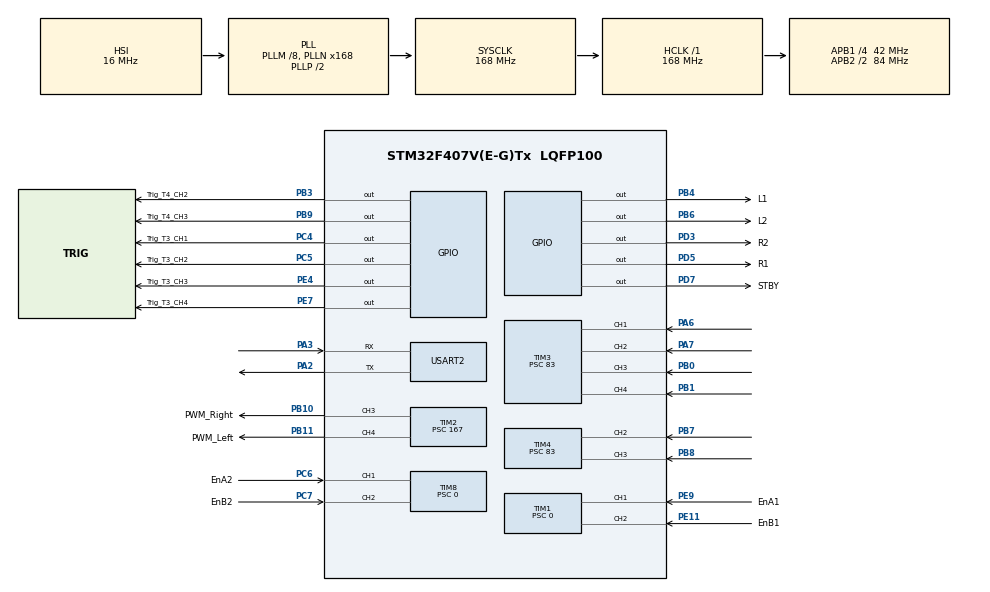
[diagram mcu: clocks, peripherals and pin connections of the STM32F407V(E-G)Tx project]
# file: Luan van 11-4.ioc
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Dma.Request0=USART2_RX
Dma.Request1=USART2_TX
Dma.USART2_RX.0.Direction=DMA_PERIPH_TO_MEMORY
Dma.USART2_RX.0.FIFOMode=DMA_FIFOMODE_DISABLE
Dma.USART2_RX.0.Instance=DMA1_Stream5
Dma.USART2_RX.0.MemDataAlignment=DMA_MDATAALIGN_BYTE
Dma.USART2_RX.0.MemInc=DMA_MINC_ENABLE
Dma.USART2_RX.0.Mode=DMA_CIRCULAR
Dma.USART2_RX.0.PeriphDataAlignment=DMA_PDATAALIGN_BYTE
Dma.USART2_RX.0.PeriphInc=DMA_PINC_DISABLE
Dma.USART2_RX.0.Priority=DMA_PRIORITY_LOW
Dma.USART2_TX.1.Direction=DMA_MEMORY_TO_PERIPH
Dma.USART2_TX.1.FIFOMode=DMA_FIFOMODE_DISABLE
Dma.USART2_TX.1.Instance=DMA1_Stream6
Dma.USART2_TX.1.MemDataAlignment=DMA_MDATAALIGN_BYTE
Dma.USART2_TX.1.MemInc=DMA_MINC_ENABLE
Dma.USART2_TX.1.Mode=DMA_CIRCULAR
Dma.USART2_TX.1.PeriphDataAlignment=DMA_PDATAALIGN_BYTE
Dma.USART2_TX.1.PeriphInc=DMA_PINC_DISABLE
Dma.USART2_TX.1.Priority=DMA_PRIORITY_LOW
Mcu.Family=STM32F4
Mcu.Name=STM32F407V(E-G)Tx
Mcu.Package=LQFP100
NVIC.DMA1_Stream5_IRQn=true\:0\:0\:false\:false\:true\:false\:true\:true
NVIC.DMA1_Stream6_IRQn=true\:0\:0\:false\:false\:true\:false\:true\:true
NVIC.PriorityGroup=NVIC_PRIORITYGROUP_4
NVIC.TIM1_CC_IRQn=true\:1\:0\:true\:false\:true\:true\:true\:true
NVIC.TIM3_IRQn=true\:0\:0\:false\:false\:true\:true\:true\:true
NVIC.TIM4_IRQn=true\:0\:0\:false\:false\:true\:true\:true\:true
NVIC.TIM8_BRK_TIM12_IRQn=true\:0\:0\:false\:false\:true\:true\:true\:true
NVIC.TIM8_CC_IRQn=true\:0\:0\:true\:false\:true\:true\:true\:true
NVIC.TIM8_TRG_COM_TIM14_IRQn=true\:0\:0\:false\:false\:true\:true\:true\:true
NVIC.TIM8_UP_TIM13_IRQn=true\:0\:0\:false\:false\:true\:true\:true\:true
NVIC.USART2_IRQn=true\:1\:0\:true\:false\:true\:true\:true\:true
PA13.Mode=Serial_Wire
PA13.Signal=SYS_JTMS-SWDIO
PA14.Mode=Serial_Wire
PA14.Signal=SYS_JTCK-SWCLK
PA2.Mode=Asynchronous
PA2.Signal=USART2_TX
PA3.Mode=Asynchronous
PA3.Signal=USART2_RX
PA6.Signal=S_TIM3_CH1
PA7.Signal=S_TIM3_CH2
PB0.Signal=S_TIM3_CH3
PB1.Signal=S_TIM3_CH4
PB10.GPIO_Label=PWM_Right
PB10.Signal=S_TIM2_CH3
PB11.GPIO_Label=PWM_Left
PB11.Signal=S_TIM2_CH4
PB3.GPIO_Label=Trig_T4_CH2
PB3.Signal=GPIO_Output
PB4.GPIO_Label=L1
PB4.Signal=GPIO_Output
PB6.GPIO_Label=L2
PB6.Signal=GPIO_Output
PB7.Signal=S_TIM4_CH2
PB8.Signal=S_TIM4_CH3
PB9.GPIO_Label=Trig_T4_CH3
PB9.Signal=GPIO_Output
PC14-OSC32_IN.Mode=LSE-External-Oscillator
PC14-OSC32_IN.Signal=RCC_OSC32_IN
PC15-OSC32_OUT.Mode=LSE-External-Oscillator
PC15-OSC32_OUT.Signal=RCC_OSC32_OUT
PC4.GPIO_Label=Trig_T3_CH1
PC4.Signal=GPIO_Output
PC5.GPIO_Label=Trig_T3_CH2
PC5.Signal=GPIO_Output
PC6.GPIO_Label=EnA2
PC6.Signal=S_TIM8_CH1
PC7.GPIO_Label=EnB2
PC7.Signal=S_TIM8_CH2
PD3.GPIO_Label=R2
PD3.Signal=GPIO_Output
PD5.GPIO_Label=R1
PD5.Signal=GPIO_Output
PD7.GPIO_Label=STBY
PD7.Signal=GPIO_Output
PE11.GPIO_Label=EnB1
PE11.Signal=S_TIM1_CH2
PE4.GPIO_Label=Trig_T3_CH3
PE4.Signal=GPIO_Output
PE7.GPIO_Label=Trig_T3_CH4
PE7.Signal=GPIO_Output
PE9.GPIO_Label=EnA1
PE9.Signal=S_TIM1_CH1
PH0-OSC_IN.Mode=HSE-External-Oscillator
PH0-OSC_IN.Signal=RCC_OSC_IN
PH1-OSC_OUT.Mode=HSE-External-Oscillator
PH1-OSC_OUT.Signal=RCC_OSC_OUT
ProjectManager.HeapSize=0x200
ProjectManager.StackSize=0x400
ProjectManager.TargetToolchain=MDK-ARM V5.32
RCC.48MHZClocksFreq_Value=84000000
RCC.AHBFreq_Value=168000000
RCC.APB1CLKDivider=RCC_HCLK_DIV4
RCC.APB1Freq_Value=42000000
RCC.APB1TimFreq_Value=84000000
RCC.APB2CLKDivider=RCC_HCLK_DIV2
RCC.APB2Freq_Value=84000000
RCC.APB2TimFreq_Value=168000000
RCC.CortexFreq_Value=168000000
RCC.HCLKFreq_Value=168000000
RCC.HSE_VALUE=25000000
RCC.HSI_VALUE=16000000
RCC.PLLM=8
RCC.PLLN=168
RCC.SYSCLKFreq_VALUE=168000000
RCC.SYSCLKSource=RCC_SYSCLKSOURCE_PLLCLK
RCC.VCOOutputFreq_Value=336000000
SH.S_TIM1_CH1.0=TIM1_CH1,Encoder_Interface
SH.S_TIM1_CH2.0=TIM1_CH2,Encoder_Interface
SH.S_TIM2_CH3.0=TIM2_CH3,PWM Generation3 CH3
SH.S_TIM2_CH4.0=TIM2_CH4,PWM Generation4 CH4
SH.S_TIM3_CH1.0=TIM3_CH1,Input_Capture1_from_TI1
SH.S_TIM3_CH2.0=TIM3_CH2,Input_Capture2_from_TI2
SH.S_TIM3_CH3.0=TIM3_CH3,Input_Capture3_from_TI3
SH.S_TIM3_CH4.0=TIM3_CH4,Input_Capture4_from_TI4
SH.S_TIM4_CH2.0=TIM4_CH2,Input_Capture2_from_TI2
SH.S_TIM4_CH3.0=TIM4_CH3,Input_Capture3_from_TI3
SH.S_TIM8_CH1.0=TIM8_CH1,Encoder_Interface
SH.S_TIM8_CH2.0=TIM8_CH2,Encoder_Interface
TIM1.EncoderMode=TIM_ENCODERMODE_TI12
TIM1.Prescaler=0
TIM2.Channel-PWM\ Generation3\ CH3=TIM_CHANNEL_3
TIM2.Channel-PWM\ Generation4\ CH4=TIM_CHANNEL_4
TIM2.Period=999
TIM2.Prescaler=167
TIM3.Channel-Input_Capture1_from_TI1=TIM_CHANNEL_1
TIM3.Channel-Input_Capture2_from_TI2=TIM_CHANNEL_2
TIM3.Channel-Input_Capture3_from_TI3=TIM_CHANNEL_3
TIM3.Channel-Input_Capture4_from_TI4=TIM_CHANNEL_4
TIM3.Prescaler=83
TIM4.Channel-Input_Capture2_from_TI2=TIM_CHANNEL_2
TIM4.Channel-Input_Capture3_from_TI3=TIM_CHANNEL_3
TIM4.Prescaler=83
TIM8.EncoderMode=TIM_ENCODERMODE_TI12
TIM8.Prescaler=0
USART2.VirtualMode=VM_ASYNC
board=custom

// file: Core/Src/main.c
/* USER CODE BEGIN Header */
/**
  ******************************************************************************
  * @file           : main.c
  * @brief          : Main program body
  ******************************************************************************
  * @attention
  *
  * Copyright (c) 2024 STMicroelectronics.
  * All rights reserved.
  *
  * This software is licensed under terms that can be found in the LICENSE file
  * in the root directory of this software component.
  * If no LICENSE file comes with this software, it is provided AS-IS.
  *
  ******************************************************************************
  */
/* USER CODE END Header */
#include "main.h"

/* USER CODE BEGIN PTD */

uint16_t ic_val1 = 0;
uint16_t ic_val2 = 0;
uint16_t diff = 0;
uint8_t distance =0;
uint8_t first_cap = 0; //check the first capture

float pre_pos1=0,pos1=0; //motor1
float pre_pos2=0,pos2=0; //motor2
float w1=0,w2=0; //van toc goc hien tai cua motor 1 vа 2
float pre_pwm1 = 0;
float pre_pwm2 = 0;
char str[2] ;
char strn[10] = "da nhan";
float vR= 300; //van toc dai mong muon (mm/s)
float wR;//van toc goc mong muon (rad/s)

//calculate value
float pre_e2=0,e2=0; //sai so e2
float inte2=0; //khau tich phan
float vleft=0,vright=0,wleft=0,wright=0; //van toc banh trai va banh phai
float v=0,w=0; //van toc dai va van toc goc
float b=186.5; //khoang cach tam 2 banh (mm)
float D=67; //duong kinh banh xe (mm)
float L=48.65; //khoang cach tu truc dong co den mat cam bien
float pwm1 = 0, pwm2 = 0; //
/* USER CODE END PTD */

TIM_HandleTypeDef htim1;
TIM_HandleTypeDef htim2;
TIM_HandleTypeDef htim3;
TIM_HandleTypeDef htim4;
TIM_HandleTypeDef htim8;

UART_HandleTypeDef huart2;
DMA_HandleTypeDef hdma_usart2_rx;
DMA_HandleTypeDef hdma_usart2_tx;

void SystemClock_Config(void);
static void MX_GPIO_Init(void);
static void MX_DMA_Init(void);
static void MX_TIM1_Init(void);
static void MX_TIM2_Init(void);
static void MX_TIM3_Init(void);
static void MX_TIM4_Init(void);
static void MX_TIM8_Init(void);
static void MX_USART2_UART_Init(void);
/* USER CODE BEGIN PFP */

void delay_us(uint16_t time)
{
  __HAL_TIM_SET_COUNTER(&htim3, 0);
  while(__HAL_TIM_GET_COUNTER (&htim3) < time);
}

void HCS04_trig (GPIO_TypeDef* GPIOx, uint16_t GPIO_Pin, uint8_t timer ,uint8_t cc)
{
  HAL_GPIO_WritePin(GPIOx,GPIO_Pin,GPIO_PIN_SET);
  delay_us(10);
  HAL_GPIO_WritePin(GPIOx,GPIO_Pin,GPIO_PIN_RESET);
	if(timer == 3)
	{
	if(cc == 1)
		{
     __HAL_TIM_ENABLE_IT(&htim3, TIM_IT_CC1 );
		}
	else if(cc == 2)
		{
     __HAL_TIM_ENABLE_IT(&htim3, TIM_IT_CC2 );
		}
	else if(cc == 4)
		{
     __HAL_TIM_ENABLE_IT(&htim3, TIM_IT_CC4 );
		}
	else if(cc == 3)
		{
     __HAL_TIM_ENABLE_IT(&htim3, TIM_IT_CC3 );
		}
	else if(cc == 5 )
		{
			__HAL_TIM_ENABLE_IT(&htim3, TIM_IT_CC3 );
		}
	}

	else if(timer == 4)
	{
	if(cc == 1)
		{
     __HAL_TIM_ENABLE_IT(&htim4, TIM_IT_CC1 );
		}
	else if(cc == 2)
		{
     __HAL_TIM_ENABLE_IT(&htim4, TIM_IT_CC2 );
		}
	else if(cc == 3)
		{
     __HAL_TIM_ENABLE_IT(&htim4, TIM_IT_CC3 );
		}
	else if(cc == 4)
		{
     __HAL_TIM_ENABLE_IT(&htim4, TIM_IT_CC4 );
		}
	}

	else if(timer == 8)
	{
		if(cc == 1)
		{
			__HAL_TIM_ENABLE_IT(&htim8, TIM_IT_CC1 );
		}
		else if(cc == 2)
		{
			__HAL_TIM_ENABLE_IT(&htim8, TIM_IT_CC2 );
		}
		else if(cc == 3)
		{
			__HAL_TIM_ENABLE_IT(&htim8, TIM_IT_CC3 );
		}
		else if(cc == 4)
		{
			__HAL_TIM_ENABLE_IT(&htim8, TIM_IT_CC4 );
		}
	}
}

//void HCS04_trig()
//{
//  HAL_GPIO_WritePin(Trig_T3_CH2_GPIO_Port,Trig_T3_CH2_Pin,GPIO_PIN_SET);
//  delay_us(10);
//  HAL_GPIO_WritePin(Trig_T3_CH2_GPIO_Port,Trig_T3_CH2_Pin,GPIO_PIN_RESET);
//  __HAL_TIM_ENABLE_IT(&htim3,TIM_IT_CC2);
//}

void HAL_TIM_IC_CaptureCallback(TIM_HandleTypeDef *htim)
{
	if(htim -> Instance == htim3.Instance) //timer 3
	{
		if(htim -> Channel == HAL_TIM_ACTIVE_CHANNEL_1 ) //channel 1
		{
			if(first_cap == 0)
			{
				ic_val1 = HAL_TIM_ReadCapturedValue(htim, TIM_CHANNEL_1 );
				first_cap = 1;
				__HAL_TIM_SET_CAPTUREPOLARITY(htim,TIM_CHANNEL_1, TIM_INPUTCHANNELPOLARITY_FALLING);
			}
			else if(first_cap == 1)
			{
				ic_val2 = HAL_TIM_ReadCapturedValue(htim,TIM_CHANNEL_1);
				__HAL_TIM_SET_COUNTER(htim,0);
				if(ic_val2 > ic_val1)
				{
					diff = ic_val2 - ic_val1;
				}
				else if(ic_val2 < ic_val1)
				{
					diff = 0xffff + ic_val2 - ic_val1;
				}
				distance = 0.017*diff;
				first_cap = 0;
				__HAL_TIM_SET_CAPTUREPOLARITY(htim,TIM_CHANNEL_1, TIM_INPUTCHANNELPOLARITY_RISING);
				__HAL_TIM_DISABLE_IT(htim, TIM_IT_CC1);
			}
		}

		if(htim -> Channel == HAL_TIM_ACTIVE_CHANNEL_2 ) //channel 2
		{
				if(first_cap == 0)
				{
					ic_val1 = HAL_TIM_ReadCapturedValue(htim, TIM_CHANNEL_2 );
					first_cap = 1;
					__HAL_TIM_SET_CAPTUREPOLARITY(htim,TIM_CHANNEL_2, TIM_INPUTCHANNELPOLARITY_FALLING);
				}
				else if(first_cap == 1)
				{
					ic_val2 = HAL_TIM_ReadCapturedValue(htim,TIM_CHANNEL_2);
					__HAL_TIM_SET_COUNTER(htim,0);
					if(ic_val2 > ic_val1)
					{
						diff = ic_val2 - ic_val1;
					}
					else if(ic_val2 < ic_val1)
					{
						diff = 0xffff + ic_val2 - ic_val1;
					}
					distance = 0.017*diff;
					first_cap = 0;
					__HAL_TIM_SET_CAPTUREPOLARITY(htim,TIM_CHANNEL_2, TIM_INPUTCHANNELPOLARITY_RISING);
					__HAL_TIM_DISABLE_IT(htim, TIM_IT_CC2);
				}
		}
		if(htim -> Channel == HAL_TIM_ACTIVE_CHANNEL_3 ) //channel 3
		{
			if(first_cap == 0)
			{
				ic_val1 = HAL_TIM_ReadCapturedValue(htim, TIM_CHANNEL_3 );
				first_cap = 1;
				__HAL_TIM_SET_CAPTUREPOLARITY(htim,TIM_CHANNEL_3, TIM_INPUTCHANNELPOLARITY_FALLING);
			}
			else if(first_cap == 1)
			{
				ic_val2 = HAL_TIM_ReadCapturedValue(htim,TIM_CHANNEL_3);
				__HAL_TIM_SET_COUNTER(htim,0);
				if(ic_val2 > ic_val1)
				{
					diff = ic_val2 - ic_val1;
				}
				else if(ic_val2 < ic_val1)
				{
					diff = 0xffff + ic_val2 - ic_val1;
				}
				distance = 0.017*diff;
				first_cap = 0;
				__HAL_TIM_SET_CAPTUREPOLARITY(htim,TIM_CHANNEL_3, TIM_INPUTCHANNELPOLARITY_RISING);
				__HAL_TIM_DISABLE_IT(htim, TIM_IT_CC3);
			}
		}
		if(htim -> Channel == HAL_TIM_ACTIVE_CHANNEL_4 ) //channel 4
		{
			if(first_cap == 0)
			{
				ic_val1 = HAL_TIM_ReadCapturedValue(htim, TIM_CHANNEL_4 );
				first_cap = 1;
				__HAL_TIM_SET_CAPTUREPOLARITY(htim,TIM_CHANNEL_4, TIM_INPUTCHANNELPOLARITY_FALLING);
			}
			else if(first_cap == 1)
			{
				ic_val2 = HAL_TIM_ReadCapturedValue(htim,TIM_CHANNEL_4);
				__HAL_TIM_SET_COUNTER(htim,0);
				if(ic_val2 > ic_val1)
				{
					diff = ic_val2 - ic_val1;
				}
				else if(ic_val2 < ic_val1)
				{
					diff = 0xffff + ic_val2 - ic_val1;
				}
				distance = 0.017*diff;
				first_cap = 0;
				__HAL_TIM_SET_CAPTUREPOLARITY(htim,TIM_CHANNEL_4, TIM_INPUTCHANNELPOLARITY_RISING);
				__HAL_TIM_DISABLE_IT(htim, TIM_IT_CC4);
			}
		}
	}

	if(htim -> Instance == htim4.Instance) //timer4
	{
		if(htim -> Channel == HAL_TIM_ACTIVE_CHANNEL_2 ) //channel 2
		{
			if(first_cap == 0)
			{
				ic_val1 = HAL_TIM_ReadCapturedValue(htim, TIM_CHANNEL_2 );
				first_cap = 1;
				__HAL_TIM_SET_CAPTUREPOLARITY(htim,TIM_CHANNEL_2, TIM_INPUTCHANNELPOLARITY_FALLING);
			}
			else if(first_cap == 1)
			{
				ic_val2 = HAL_TIM_ReadCapturedValue(htim,TIM_CHANNEL_2);
				__HAL_TIM_SET_COUNTER(htim,0);
				if(ic_val2 > ic_val1)
				{
					diff = ic_val2 - ic_val1;
				}
				else if(ic_val2 < ic_val1)
				{
					diff = 0xffff + ic_val2 - ic_val1;
				}
				distance = 0.017*diff;
				first_cap = 0;
				__HAL_TIM_SET_CAPTUREPOLARITY(htim,TIM_CHANNEL_2, TIM_INPUTCHANNELPOLARITY_RISING);
				__HAL_TIM_DISABLE_IT(htim, TIM_IT_CC2);
			}
		}

		if(htim -> Channel == HAL_TIM_ACTIVE_CHANNEL_3 ) //channel 3
		{
			if(first_cap == 0)
			{
				ic_val1 = HAL_TIM_ReadCapturedValue(htim, TIM_CHANNEL_3 );
				first_cap = 1;
				__HAL_TIM_SET_CAPTUREPOLARITY(htim,TIM_CHANNEL_3, TIM_INPUTCHANNELPOLARITY_FALLING);
			}
			else if(first_cap == 1)
			{
				ic_val2 = HAL_TIM_ReadCapturedValue(htim,TIM_CHANNEL_3);
				__HAL_TIM_SET_COUNTER(htim,0);
				if(ic_val2 > ic_val1)
				{
					diff = ic_val2 - ic_val1;
				}
				else if(ic_val2 < ic_val1)
				{
					diff = 0xffff + ic_val2 - ic_val1;
				}
				distance = 0.017*diff;
				first_cap = 0;
				__HAL_TIM_SET_CAPTUREPOLARITY(htim,TIM_CHANNEL_3, TIM_INPUTCHANNELPOLARITY_RISING);
				__HAL_TIM_DISABLE_IT(htim, TIM_IT_CC3);
			}
		}
	}

	if(htim -> Instance == htim8.Instance) //timer8
	{
	if(htim -> Channel == HAL_TIM_ACTIVE_CHANNEL_3 ) //channel 3
		{
			if(first_cap == 0)
			{
				ic_val1 = HAL_TIM_ReadCapturedValue(htim, TIM_CHANNEL_3 );
				first_cap = 1;
				__HAL_TIM_SET_CAPTUREPOLARITY(htim,TIM_CHANNEL_3, TIM_INPUTCHANNELPOLARITY_FALLING);
			}
			else if(first_cap == 1)
			{
				ic_val2 = HAL_TIM_ReadCapturedValue(htim,TIM_CHANNEL_3);
				__HAL_TIM_SET_COUNTER(htim,0);
				if(ic_val2 > ic_val1)
				{
					diff = ic_val2 - ic_val1;
				}
				else if(ic_val2 < ic_val1)
				{
					diff = 0xffff + ic_val2 - ic_val1;
				}
				distance = 0.017*diff;
				first_cap = 0;
				__HAL_TIM_SET_CAPTUREPOLARITY(htim,TIM_CHANNEL_3, TIM_INPUTCHANNELPOLARITY_RISING);
				__HAL_TIM_DISABLE_IT(htim, TIM_IT_CC3);
			}
		}
	}
}

float tocdoquay(float pre_pos,float pos)
{
	float w;
	if (pre_pos > pos)
	{
		w = (pre_pos - pos)*600/44/45;
	}
	else if (pre_pos == pos) w = 0;
	else if (pos > pre_pos)
	{
		w = (65535 - pos + pre_pos )*600/44/45; //1.15*3.03
	}
	// if(w>130) w=130;
  return w;
}
/* USER CODE END PFP */

/* USER CODE BEGIN 0 */
void dithang(void)
{
	HAL_GPIO_WritePin(L1_GPIO_Port,L1_Pin,GPIO_PIN_RESET);
	HAL_GPIO_WritePin(L2_GPIO_Port,L2_Pin,GPIO_PIN_SET);
	HAL_GPIO_WritePin(R1_GPIO_Port,R1_Pin,GPIO_PIN_SET);
	HAL_GPIO_WritePin(R2_GPIO_Port,R2_Pin,GPIO_PIN_RESET);
	HAL_GPIO_WritePin(STBY_GPIO_Port,STBY_Pin,GPIO_PIN_SET);
	__HAL_TIM_SET_COMPARE(&htim2,TIM_CHANNEL_3,500); //left
	__HAL_TIM_SET_COMPARE(&htim2,TIM_CHANNEL_4,500);
}
void dilui(void)
{
	HAL_GPIO_WritePin(L1_GPIO_Port,L1_Pin,GPIO_PIN_RESET);
	HAL_GPIO_WritePin(L2_GPIO_Port,L2_Pin,GPIO_PIN_SET);
	HAL_GPIO_WritePin(R1_GPIO_Port,R1_Pin,GPIO_PIN_SET);
	HAL_GPIO_WritePin(R2_GPIO_Port,R2_Pin,GPIO_PIN_RESET);
	HAL_GPIO_WritePin(STBY_GPIO_Port,STBY_Pin,GPIO_PIN_SET);
	__HAL_TIM_SET_COMPARE(&htim2,TIM_CHANNEL_3,500); //left
	__HAL_TIM_SET_COMPARE(&htim2,TIM_CHANNEL_4,500);
}

void retrai(void)
{
	HAL_GPIO_WritePin(L1_GPIO_Port,L1_Pin,GPIO_PIN_RESET);
	HAL_GPIO_WritePin(L2_GPIO_Port,L2_Pin,GPIO_PIN_SET);
	HAL_GPIO_WritePin(R1_GPIO_Port,R1_Pin,GPIO_PIN_SET);
	HAL_GPIO_WritePin(R2_GPIO_Port,R2_Pin,GPIO_PIN_RESET);
	HAL_GPIO_WritePin(STBY_GPIO_Port,STBY_Pin,GPIO_PIN_SET);
	__HAL_TIM_SET_COMPARE(&htim2,TIM_CHANNEL_3,600); //left
	__HAL_TIM_SET_COMPARE(&htim2,TIM_CHANNEL_4,300);
}

void rephai(void)
{
	HAL_GPIO_WritePin(L1_GPIO_Port,L1_Pin,GPIO_PIN_RESET);
	HAL_GPIO_WritePin(L2_GPIO_Port,L2_Pin,GPIO_PIN_SET);
	HAL_GPIO_WritePin(R1_GPIO_Port,R1_Pin,GPIO_PIN_SET);
	HAL_GPIO_WritePin(R2_GPIO_Port,R2_Pin,GPIO_PIN_RESET);
	HAL_GPIO_WritePin(STBY_GPIO_Port,STBY_Pin,GPIO_PIN_SET);
	__HAL_TIM_SET_COMPARE(&htim2,TIM_CHANNEL_3,300); //left
	__HAL_TIM_SET_COMPARE(&htim2,TIM_CHANNEL_4,600);
}
/* USER CODE END 0 */

int main(void)
  {

  /* MCU Configuration--------------------------------------------------------*/

  /* Reset of all peripherals, Initializes the Flash interface and the Systick. */
  HAL_Init();

  /* Configure the system clock */
  SystemClock_Config();

  /* Initialize all configured peripherals */
  MX_GPIO_Init();
  MX_DMA_Init();
  MX_TIM1_Init();
  MX_TIM2_Init();
  MX_TIM3_Init();
  MX_TIM4_Init();
  MX_TIM8_Init();
  MX_USART2_UART_Init();
  /* USER CODE BEGIN 2 */
	HAL_TIM_IC_Start_IT(&htim3,TIM_CHANNEL_1);
	HAL_TIM_IC_Start_IT(&htim3,TIM_CHANNEL_2);
	HAL_TIM_IC_Start_IT(&htim3,TIM_CHANNEL_3);
	HAL_TIM_IC_Start_IT(&htim3,TIM_CHANNEL_4);
	HAL_TIM_IC_Start_IT(&htim4,TIM_CHANNEL_2);
	HAL_TIM_IC_Start_IT(&htim4,TIM_CHANNEL_3);
//	HAL_TIM_IC_Start_IT(&htim8,TIM_CHANNEL_3);
	HAL_TIM_Encoder_Start(&htim1,TIM_CHANNEL_1);
	HAL_TIM_Encoder_Start(&htim1,TIM_CHANNEL_2);
	HAL_TIM_Encoder_Start(&htim8,TIM_CHANNEL_1);
	HAL_TIM_Encoder_Start(&htim8,TIM_CHANNEL_2);
	HAL_TIM_PWM_Start(&htim2,TIM_CHANNEL_3);
	HAL_TIM_PWM_Start(&htim2,TIM_CHANNEL_4);

	HAL_GPIO_WritePin(L1_GPIO_Port,L1_Pin,GPIO_PIN_RESET);
	HAL_GPIO_WritePin(L2_GPIO_Port,L2_Pin,GPIO_PIN_SET);
	HAL_GPIO_WritePin(R1_GPIO_Port,R1_Pin,GPIO_PIN_SET);
	HAL_GPIO_WritePin(R2_GPIO_Port,R2_Pin,GPIO_PIN_RESET);
	HAL_GPIO_WritePin(STBY_GPIO_Port,STBY_Pin,GPIO_PIN_SET);
//			__HAL_TIM_SET_COMPARE(&htim2,TIM_CHANNEL_3,1000); //left
//		__HAL_TIM_SET_COMPARE(&htim2,TIM_CHANNEL_4,1000);
  /* USER CODE END 2 */

  /* Infinite loop */
  while (1)
  {

    /* USER CODE BEGIN 3 */
//		HCS04_trig(Trig_T3_CH1_GPIO_Port,Trig_T3_CH1_Pin,3,1);
////		HAL_Delay(100);
//		HCS04_trig(Trig_T3_CH2_GPIO_Port,Trig_T3_CH2_Pin,3,2);
////		HAL_Delay(100);
//		HCS04_trig(Trig_T3_CH3_GPIO_Port,Trig_T3_CH3_Pin,3,3);
////		HAL_Delay(100);
//		HCS04_trig(Trig_T3_CH4_GPIO_Port,Trig_T3_CH4_Pin,3,4);
////		HAL_Delay(100);
//		HCS04_trig(Trig_T4_CH2_GPIO_Port,Trig_T4_CH2_Pin,4,2);
////		HAL_Delay(100);
//		HCS04_trig(Trig_T4_CH3_GPIO_Port,Trig_T4_CH3_Pin,4,3);
//		HAL_Delay(100);
//		pre_pos1=pos1;
//		pre_pos2=pos2;
//		HAL_Delay(100);
//		pos1=__HAL_TIM_GetCounter(&htim1);
//		pos2=__HAL_TIM_GetCounter(&htim8);
//	//		__HAL_TIM_SET_COMPARE(&htim2,TIM_CHANNEL_3,600); //left
//	//	__HAL_TIM_SET_COMPARE(&htim2,TIM_CHANNEL_4,300);
//		w1= tocdoquay(pre_pos1,pos1);
//		w2= tocdoquay(pre_pos2,pos2);
		HAL_UART_Receive_DMA(&huart2,(uint8_t *)str, sizeof(str));
//		if(str[0] == 'F')
//		{
//			dithang();
//		}
//		else if(str[0] == 'R')
//		{
//			rephai();
//		}
//		else if(str[0] == 'L')
//		{
//			retrai();
//		}
//		else if(str[0] == 'G')
//		{
//			dilui();
//		}
//		else
//		{
//			__HAL_TIM_SET_COMPARE(&htim2,TIM_CHANNEL_3,0); //left
//			__HAL_TIM_SET_COMPARE(&htim2,TIM_CHANNEL_4,0);
//		}
			w = str[0];
			vR = str[1];
			vleft = 0.5*(2*vR - w*b);
			vright = 0.5*(2*vR + w*b);
			wleft=(vleft*60*2/D)/(2*3.14);
			wright=(vright*60*2/D)/(2*3.14);
			pwm1 = wleft * 1000/130;
			pwm2 = wright*1000/130;
			__HAL_TIM_SET_COMPARE(&htim2,TIM_CHANNEL_3,pwm1); //left
			__HAL_TIM_SET_COMPARE(&htim2,TIM_CHANNEL_4,pwm2);
//		HAL_Delay(100);
//		str[0] = 'S';
//		HAL_UART_Transmit_IT(&huart2,(uint8_t *)strn,sizeof(strn));
//		HAL_Delay(100);
		//HAL_Delay(500);
  }
  /* USER CODE END 3 */
}

//void HAL_UART_RxCpltCallback(UART_HandleTypeDef *huart)
//{
//	if(str[0] == 'F')
//		{
//			dithang();
//		}
//		else if(str[0] == 'R')
//		{
//			rephai();
//		}
//		else if(str[0] == 'L')
//		{
//			retrai();
//		}
//		else if(str[0] == 'G')
//		{
//			dilui();
//		}
//		else
//		{
//			__HAL_TIM_SET_COMPARE(&htim2,TIM_CHANNEL_3,0); //left
//			__HAL_TIM_SET_COMPARE(&htim2,TIM_CHANNEL_4,0);
//		}

//}
void SystemClock_Config(void)
{
  RCC_OscInitTypeDef RCC_OscInitStruct = {0};
  RCC_ClkInitTypeDef RCC_ClkInitStruct = {0};

  /** Configure the main internal regulator output voltage
  */
  __HAL_RCC_PWR_CLK_ENABLE();
  __HAL_PWR_VOLTAGESCALING_CONFIG(PWR_REGULATOR_VOLTAGE_SCALE1);

  /** Initializes the RCC Oscillators according to the specified parameters
  * in the RCC_OscInitTypeDef structure.
  */
  RCC_OscInitStruct.OscillatorType = RCC_OSCILLATORTYPE_HSI;
  RCC_OscInitStruct.HSIState = RCC_HSI_ON;
  RCC_OscInitStruct.HSICalibrationValue = RCC_HSICALIBRATION_DEFAULT;
  RCC_OscInitStruct.PLL.PLLState = RCC_PLL_ON;
  RCC_OscInitStruct.PLL.PLLSource = RCC_PLLSOURCE_HSI;
  RCC_OscInitStruct.PLL.PLLM = 8;
  RCC_OscInitStruct.PLL.PLLN = 168;
  RCC_OscInitStruct.PLL.PLLP = RCC_PLLP_DIV2;
  RCC_OscInitStruct.PLL.PLLQ = 4;
  if (HAL_RCC_OscConfig(&RCC_OscInitStruct) != HAL_OK)
  {
    Error_Handler();
  }

  /** Initializes the CPU, AHB and APB buses clocks
  */
  RCC_ClkInitStruct.ClockType = RCC_CLOCKTYPE_HCLK|RCC_CLOCKTYPE_SYSCLK
                              |RCC_CLOCKTYPE_PCLK1|RCC_CLOCKTYPE_PCLK2;
  RCC_ClkInitStruct.SYSCLKSource = RCC_SYSCLKSOURCE_PLLCLK;
  RCC_ClkInitStruct.AHBCLKDivider = RCC_SYSCLK_DIV1;
  RCC_ClkInitStruct.APB1CLKDivider = RCC_HCLK_DIV4;
  RCC_ClkInitStruct.APB2CLKDivider = RCC_HCLK_DIV2;

  if (HAL_RCC_ClockConfig(&RCC_ClkInitStruct, FLASH_LATENCY_5) != HAL_OK)
  {
    Error_Handler();
  }
}

static void MX_TIM1_Init(void)
{

  TIM_Encoder_InitTypeDef sConfig = {0};
  TIM_MasterConfigTypeDef sMasterConfig = {0};

  htim1.Instance = TIM1;
  htim1.Init.Prescaler = 0;
  htim1.Init.CounterMode = TIM_COUNTERMODE_UP;
  htim1.Init.Period = 65535;
  htim1.Init.ClockDivision = TIM_CLOCKDIVISION_DIV1;
  htim1.Init.RepetitionCounter = 0;
  htim1.Init.AutoReloadPreload = TIM_AUTORELOAD_PRELOAD_DISABLE;
  sConfig.EncoderMode = TIM_ENCODERMODE_TI12;
  sConfig.IC1Polarity = TIM_ICPOLARITY_RISING;
  sConfig.IC1Selection = TIM_ICSELECTION_DIRECTTI;
  sConfig.IC1Prescaler = TIM_ICPSC_DIV1;
  sConfig.IC1Filter = 0;
  sConfig.IC2Polarity = TIM_ICPOLARITY_RISING;
  sConfig.IC2Selection = TIM_ICSELECTION_DIRECTTI;
  sConfig.IC2Prescaler = TIM_ICPSC_DIV1;
  sConfig.IC2Filter = 0;
  if (HAL_TIM_Encoder_Init(&htim1, &sConfig) != HAL_OK)
  {
    Error_Handler();
  }
  sMasterConfig.MasterOutputTrigger = TIM_TRGO_RESET;
  sMasterConfig.MasterSlaveMode = TIM_MASTERSLAVEMODE_DISABLE;
  if (HAL_TIMEx_MasterConfigSynchronization(&htim1, &sMasterConfig) != HAL_OK)
  {
    Error_Handler();
  }

}

static void MX_TIM2_Init(void)
{

  TIM_MasterConfigTypeDef sMasterConfig = {0};
  TIM_OC_InitTypeDef sConfigOC = {0};

  htim2.Instance = TIM2;
  htim2.Init.Prescaler = 167;
  htim2.Init.CounterMode = TIM_COUNTERMODE_UP;
  htim2.Init.Period = 999;
  htim2.Init.ClockDivision = TIM_CLOCKDIVISION_DIV1;
  htim2.Init.AutoReloadPreload = TIM_AUTORELOAD_PRELOAD_DISABLE;
  if (HAL_TIM_PWM_Init(&htim2) != HAL_OK)
  {
    Error_Handler();
  }
  sMasterConfig.MasterOutputTrigger = TIM_TRGO_RESET;
  sMasterConfig.MasterSlaveMode = TIM_MASTERSLAVEMODE_DISABLE;
  if (HAL_TIMEx_MasterConfigSynchronization(&htim2, &sMasterConfig) != HAL_OK)
  {
    Error_Handler();
  }
  sConfigOC.OCMode = TIM_OCMODE_PWM1;
  sConfigOC.Pulse = 0;
  sConfigOC.OCPolarity = TIM_OCPOLARITY_HIGH;
  sConfigOC.OCFastMode = TIM_OCFAST_DISABLE;
  if (HAL_TIM_PWM_ConfigChannel(&htim2, &sConfigOC, TIM_CHANNEL_3) != HAL_OK)
  {
    Error_Handler();
  }
  if (HAL_TIM_PWM_ConfigChannel(&htim2, &sConfigOC, TIM_CHANNEL_4) != HAL_OK)
  {
    Error_Handler();
  }
  HAL_TIM_MspPostInit(&htim2);

}

static void MX_TIM3_Init(void)
{

  TIM_MasterConfigTypeDef sMasterConfig = {0};
  TIM_IC_InitTypeDef sConfigIC = {0};

  htim3.Instance = TIM3;
  htim3.Init.Prescaler = 83;
  htim3.Init.CounterMode = TIM_COUNTERMODE_UP;
  htim3.Init.Period = 65535;
  htim3.Init.ClockDivision = TIM_CLOCKDIVISION_DIV1;
  htim3.Init.AutoReloadPreload = TIM_AUTORELOAD_PRELOAD_DISABLE;
  if (HAL_TIM_IC_Init(&htim3) != HAL_OK)
  {
    Error_Handler();
  }
  sMasterConfig.MasterOutputTrigger = TIM_TRGO_RESET;
  sMasterConfig.MasterSlaveMode = TIM_MASTERSLAVEMODE_DISABLE;
  if (HAL_TIMEx_MasterConfigSynchronization(&htim3, &sMasterConfig) != HAL_OK)
  {
    Error_Handler();
  }
  sConfigIC.ICPolarity = TIM_INPUTCHANNELPOLARITY_RISING;
  sConfigIC.ICSelection = TIM_ICSELECTION_DIRECTTI;
  sConfigIC.ICPrescaler = TIM_ICPSC_DIV1;
  sConfigIC.ICFilter = 0;
  if (HAL_TIM_IC_ConfigChannel(&htim3, &sConfigIC, TIM_CHANNEL_1) != HAL_OK)
  {
    Error_Handler();
  }
  if (HAL_TIM_IC_ConfigChannel(&htim3, &sConfigIC, TIM_CHANNEL_2) != HAL_OK)
  {
    Error_Handler();
  }
  if (HAL_TIM_IC_ConfigChannel(&htim3, &sConfigIC, TIM_CHANNEL_3) != HAL_OK)
  {
    Error_Handler();
  }
  if (HAL_TIM_IC_ConfigChannel(&htim3, &sConfigIC, TIM_CHANNEL_4) != HAL_OK)
  {
    Error_Handler();
  }

}

static void MX_TIM4_Init(void)
{

  TIM_MasterConfigTypeDef sMasterConfig = {0};
  TIM_IC_InitTypeDef sConfigIC = {0};

  htim4.Instance = TIM4;
  htim4.Init.Prescaler = 83;
  htim4.Init.CounterMode = TIM_COUNTERMODE_UP;
  htim4.Init.Period = 65535;
  htim4.Init.ClockDivision = TIM_CLOCKDIVISION_DIV1;
  htim4.Init.AutoReloadPreload = TIM_AUTORELOAD_PRELOAD_DISABLE;
  if (HAL_TIM_IC_Init(&htim4) != HAL_OK)
  {
    Error_Handler();
  }
  sMasterConfig.MasterOutputTrigger = TIM_TRGO_RESET;
  sMasterConfig.MasterSlaveMode = TIM_MASTERSLAVEMODE_DISABLE;
  if (HAL_TIMEx_MasterConfigSynchronization(&htim4, &sMasterConfig) != HAL_OK)
  {
    Error_Handler();
  }
  sConfigIC.ICPolarity = TIM_INPUTCHANNELPOLARITY_RISING;
  sConfigIC.ICSelection = TIM_ICSELECTION_DIRECTTI;
  sConfigIC.ICPrescaler = TIM_ICPSC_DIV1;
  sConfigIC.ICFilter = 0;
  if (HAL_TIM_IC_ConfigChannel(&htim4, &sConfigIC, TIM_CHANNEL_2) != HAL_OK)
  {
    Error_Handler();
  }
  if (HAL_TIM_IC_ConfigChannel(&htim4, &sConfigIC, TIM_CHANNEL_3) != HAL_OK)
  {
    Error_Handler();
  }

}

static void MX_TIM8_Init(void)
{

  TIM_Encoder_InitTypeDef sConfig = {0};
  TIM_MasterConfigTypeDef sMasterConfig = {0};

  htim8.Instance = TIM8;
  htim8.Init.Prescaler = 0;
  htim8.Init.CounterMode = TIM_COUNTERMODE_UP;
  htim8.Init.Period = 65535;
  htim8.Init.ClockDivision = TIM_CLOCKDIVISION_DIV1;
  htim8.Init.RepetitionCounter = 0;
  htim8.Init.AutoReloadPreload = TIM_AUTORELOAD_PRELOAD_DISABLE;
  sConfig.EncoderMode = TIM_ENCODERMODE_TI12;
  sConfig.IC1Polarity = TIM_ICPOLARITY_RISING;
  sConfig.IC1Selection = TIM_ICSELECTION_DIRECTTI;
  sConfig.IC1Prescaler = TIM_ICPSC_DIV1;
  sConfig.IC1Filter = 0;
  sConfig.IC2Polarity = TIM_ICPOLARITY_RISING;
  sConfig.IC2Selection = TIM_ICSELECTION_DIRECTTI;
  sConfig.IC2Prescaler = TIM_ICPSC_DIV1;
  sConfig.IC2Filter = 0;
  if (HAL_TIM_Encoder_Init(&htim8, &sConfig) != HAL_OK)
  {
    Error_Handler();
  }
  sMasterConfig.MasterOutputTrigger = TIM_TRGO_RESET;
  sMasterConfig.MasterSlaveMode = TIM_MASTERSLAVEMODE_DISABLE;
  if (HAL_TIMEx_MasterConfigSynchronization(&htim8, &sMasterConfig) != HAL_OK)
  {
    Error_Handler();
  }

}

static void MX_USART2_UART_Init(void)
{

  huart2.Instance = USART2;
  huart2.Init.BaudRate = 115200;
  huart2.Init.WordLength = UART_WORDLENGTH_8B;
  huart2.Init.StopBits = UART_STOPBITS_1;
  huart2.Init.Parity = UART_PARITY_NONE;
  huart2.Init.Mode = UART_MODE_TX_RX;
  huart2.Init.HwFlowCtl = UART_HWCONTROL_NONE;
  huart2.Init.OverSampling = UART_OVERSAMPLING_16;
  if (HAL_UART_Init(&huart2) != HAL_OK)
  {
    Error_Handler();
  }

}

static void MX_DMA_Init(void)
{

  /* DMA controller clock enable */
  __HAL_RCC_DMA1_CLK_ENABLE();

  /* DMA interrupt init */
  /* DMA1_Stream5_IRQn interrupt configuration */
  HAL_NVIC_SetPriority(DMA1_Stream5_IRQn, 0, 0);
  HAL_NVIC_EnableIRQ(DMA1_Stream5_IRQn);
  /* DMA1_Stream6_IRQn interrupt configuration */
  HAL_NVIC_SetPriority(DMA1_Stream6_IRQn, 0, 0);
  HAL_NVIC_EnableIRQ(DMA1_Stream6_IRQn);

}

static void MX_GPIO_Init(void)
{
  GPIO_InitTypeDef GPIO_InitStruct = {0};

  /* GPIO Ports Clock Enable */
  __HAL_RCC_GPIOE_CLK_ENABLE();
  __HAL_RCC_GPIOC_CLK_ENABLE();
  __HAL_RCC_GPIOH_CLK_ENABLE();
  __HAL_RCC_GPIOA_CLK_ENABLE();
  __HAL_RCC_GPIOB_CLK_ENABLE();
  __HAL_RCC_GPIOD_CLK_ENABLE();

  /*Configure GPIO pin Output Level */
  HAL_GPIO_WritePin(GPIOE, Trig_T3_CH3_Pin|Trig_T3_CH4_Pin, GPIO_PIN_RESET);

  /*Configure GPIO pin Output Level */
  HAL_GPIO_WritePin(GPIOC, Trig_T3_CH1_Pin|Trig_T3_CH2_Pin, GPIO_PIN_RESET);

  /*Configure GPIO pin Output Level */
  HAL_GPIO_WritePin(GPIOD, R2_Pin|R1_Pin|STBY_Pin, GPIO_PIN_RESET);

  /*Configure GPIO pin Output Level */
  HAL_GPIO_WritePin(GPIOB, Trig_T4_CH2_Pin|L1_Pin|L2_Pin|Trig_T4_CH3_Pin, GPIO_PIN_RESET);

  /*Configure GPIO pins : Trig_T3_CH3_Pin Trig_T3_CH4_Pin */
  GPIO_InitStruct.Pin = Trig_T3_CH3_Pin|Trig_T3_CH4_Pin;
  GPIO_InitStruct.Mode = GPIO_MODE_OUTPUT_PP;
  GPIO_InitStruct.Pull = GPIO_NOPULL;
  GPIO_InitStruct.Speed = GPIO_SPEED_FREQ_LOW;
  HAL_GPIO_Init(GPIOE, &GPIO_InitStruct);

  /*Configure GPIO pins : Trig_T3_CH1_Pin Trig_T3_CH2_Pin */
  GPIO_InitStruct.Pin = Trig_T3_CH1_Pin|Trig_T3_CH2_Pin;
  GPIO_InitStruct.Mode = GPIO_MODE_OUTPUT_PP;
  GPIO_InitStruct.Pull = GPIO_NOPULL;
  GPIO_InitStruct.Speed = GPIO_SPEED_FREQ_LOW;
  HAL_GPIO_Init(GPIOC, &GPIO_InitStruct);

  /*Configure GPIO pins : R2_Pin R1_Pin STBY_Pin */
  GPIO_InitStruct.Pin = R2_Pin|R1_Pin|STBY_Pin;
  GPIO_InitStruct.Mode = GPIO_MODE_OUTPUT_PP;
  GPIO_InitStruct.Pull = GPIO_NOPULL;
  GPIO_InitStruct.Speed = GPIO_SPEED_FREQ_LOW;
  HAL_GPIO_Init(GPIOD, &GPIO_InitStruct);

  /*Configure GPIO pins : Trig_T4_CH2_Pin L1_Pin L2_Pin Trig_T4_CH3_Pin */
  GPIO_InitStruct.Pin = Trig_T4_CH2_Pin|L1_Pin|L2_Pin|Trig_T4_CH3_Pin;
  GPIO_InitStruct.Mode = GPIO_MODE_OUTPUT_PP;
  GPIO_InitStruct.Pull = GPIO_NOPULL;
  GPIO_InitStruct.Speed = GPIO_SPEED_FREQ_LOW;
  HAL_GPIO_Init(GPIOB, &GPIO_InitStruct);

}

void Error_Handler(void)
{
  __disable_irq();
  while (1)
  {
  }
}
